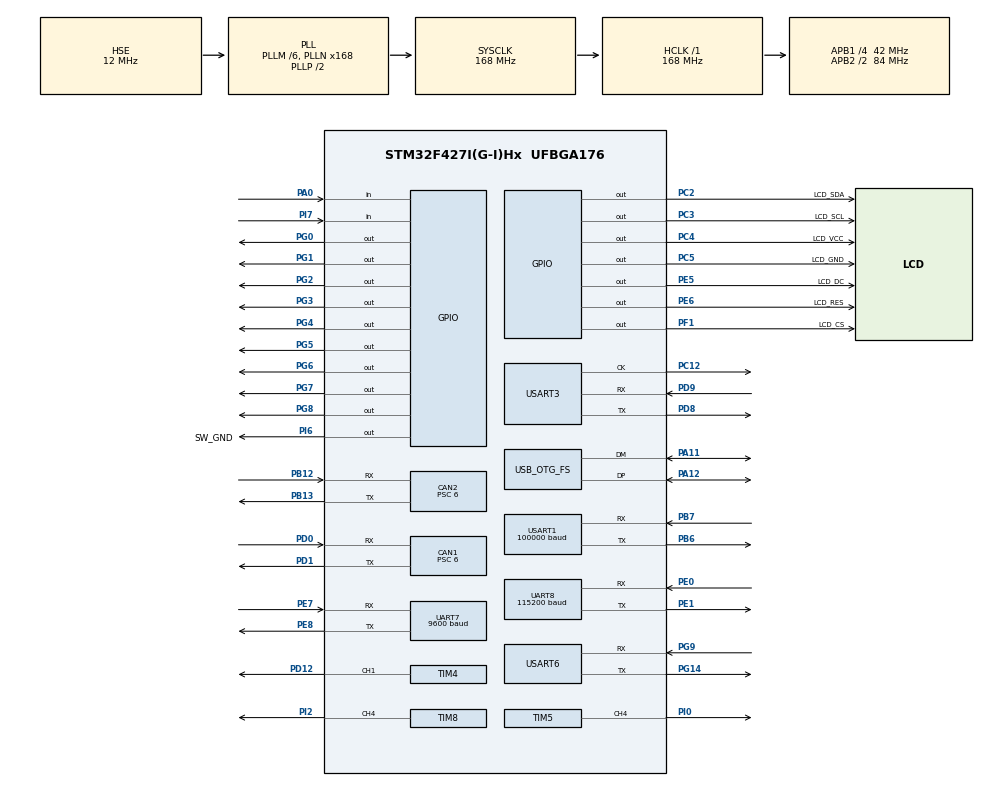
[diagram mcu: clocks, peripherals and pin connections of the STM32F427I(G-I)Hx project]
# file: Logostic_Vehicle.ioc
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CAN1.ABOM=ENABLE
CAN1.BS1=CAN_BS1_3TQ
CAN1.BS2=CAN_BS2_3TQ
CAN1.CalculateBaudRate=1000000
CAN1.CalculateTimeBit=1000
CAN1.CalculateTimeQuantum=142.85714285714286
CAN1.NART=ENABLE
CAN1.Prescaler=6
CAN1.SJW=CAN_SJW_1TQ
CAN2.ABOM=ENABLE
CAN2.BS1=CAN_BS1_3TQ
CAN2.BS2=CAN_BS2_3TQ
CAN2.CalculateBaudRate=1000000
CAN2.CalculateTimeBit=1000
CAN2.CalculateTimeQuantum=142.85714285714286
CAN2.NART=ENABLE
CAN2.Prescaler=6
Dma.Request0=USART1_RX
Dma.Request1=UART7_RX
Dma.Request2=UART7_TX
Dma.Request3=UART8_RX
Dma.Request4=UART8_TX
Dma.UART7_RX.1.Direction=DMA_PERIPH_TO_MEMORY
Dma.UART7_RX.1.FIFOMode=DMA_FIFOMODE_DISABLE
Dma.UART7_RX.1.Instance=DMA1_Stream3
Dma.UART7_RX.1.MemDataAlignment=DMA_MDATAALIGN_BYTE
Dma.UART7_RX.1.MemInc=DMA_MINC_ENABLE
Dma.UART7_RX.1.Mode=DMA_NORMAL
Dma.UART7_RX.1.PeriphDataAlignment=DMA_PDATAALIGN_BYTE
Dma.UART7_RX.1.PeriphInc=DMA_PINC_DISABLE
Dma.UART7_RX.1.Priority=DMA_PRIORITY_LOW
Dma.UART7_TX.2.Direction=DMA_MEMORY_TO_PERIPH
Dma.UART7_TX.2.FIFOMode=DMA_FIFOMODE_DISABLE
Dma.UART7_TX.2.Instance=DMA1_Stream1
Dma.UART7_TX.2.MemDataAlignment=DMA_MDATAALIGN_BYTE
Dma.UART7_TX.2.MemInc=DMA_MINC_ENABLE
Dma.UART7_TX.2.Mode=DMA_NORMAL
Dma.UART7_TX.2.PeriphDataAlignment=DMA_PDATAALIGN_BYTE
Dma.UART7_TX.2.PeriphInc=DMA_PINC_DISABLE
Dma.UART7_TX.2.Priority=DMA_PRIORITY_LOW
Dma.UART8_RX.3.Direction=DMA_PERIPH_TO_MEMORY
Dma.UART8_RX.3.FIFOMode=DMA_FIFOMODE_DISABLE
Dma.UART8_RX.3.Instance=DMA1_Stream6
Dma.UART8_RX.3.MemDataAlignment=DMA_MDATAALIGN_BYTE
Dma.UART8_RX.3.MemInc=DMA_MINC_ENABLE
Dma.UART8_RX.3.Mode=DMA_NORMAL
Dma.UART8_RX.3.PeriphDataAlignment=DMA_PDATAALIGN_BYTE
Dma.UART8_RX.3.PeriphInc=DMA_PINC_DISABLE
Dma.UART8_RX.3.Priority=DMA_PRIORITY_LOW
Dma.UART8_TX.4.Direction=DMA_MEMORY_TO_PERIPH
Dma.UART8_TX.4.FIFOMode=DMA_FIFOMODE_DISABLE
Dma.UART8_TX.4.Instance=DMA1_Stream0
Dma.UART8_TX.4.MemDataAlignment=DMA_MDATAALIGN_BYTE
Dma.UART8_TX.4.MemInc=DMA_MINC_ENABLE
Dma.UART8_TX.4.Mode=DMA_NORMAL
Dma.UART8_TX.4.PeriphDataAlignment=DMA_PDATAALIGN_BYTE
Dma.UART8_TX.4.PeriphInc=DMA_PINC_DISABLE
Dma.UART8_TX.4.Priority=DMA_PRIORITY_LOW
Dma.USART1_RX.0.Direction=DMA_PERIPH_TO_MEMORY
Dma.USART1_RX.0.FIFOMode=DMA_FIFOMODE_DISABLE
Dma.USART1_RX.0.Instance=DMA2_Stream2
Dma.USART1_RX.0.MemDataAlignment=DMA_MDATAALIGN_BYTE
Dma.USART1_RX.0.MemInc=DMA_MINC_ENABLE
Dma.USART1_RX.0.Mode=DMA_NORMAL
Dma.USART1_RX.0.PeriphDataAlignment=DMA_PDATAALIGN_BYTE
Dma.USART1_RX.0.PeriphInc=DMA_PINC_DISABLE
Dma.USART1_RX.0.Priority=DMA_PRIORITY_VERY_HIGH
FREERTOS.Tasks01=defaultTask,9,128,StartDefaultTask,Default,NULL,Dynamic,NULL,NULL;ControlTask,40,128,App_ControlTask,As weak,NULL,Dynamic,NULL,NULL;ChassisTask,24,512,App_ChassisTask,As weak,NULL,Dynamic,NULL,NULL;GimbalTask,24,256,App_GimbalTask,As weak,NULL,Dynamic,NULL,NULL;DebugTask,16,128,App_DebugTask,As weak,NULL,Dynamic,NULL,NULL;LiftTask,24,128,App_LiftTask,As weak,NULL,Dynamic,NULL,NULL;TrayTask,24,128,AppTrayTask,As weak,NULL,Dynamic,NULL,NULL;CaptureTask,24,128,App_CaptureTask,As weak,NULL,Dynamic,NULL,NULL;VIewTask,24,128,App_VIewTask,As weak,NULL,Dynamic,NULL,NULL
FREERTOS.configENABLE_FPU=1
Mcu.Family=STM32F4
Mcu.Name=STM32F427I(G-I)Hx
Mcu.Package=UFBGA176
NVIC.CAN1_RX0_IRQn=true\:5\:0\:false\:false\:true\:true\:true\:true\:true
NVIC.CAN1_RX1_IRQn=true\:5\:0\:false\:false\:true\:true\:true\:true\:true
NVIC.CAN2_RX0_IRQn=true\:5\:0\:false\:false\:true\:true\:true\:true\:true
NVIC.CAN2_RX1_IRQn=true\:5\:0\:false\:false\:true\:true\:true\:true\:true
NVIC.DMA1_Stream0_IRQn=true\:5\:0\:false\:false\:true\:true\:false\:true\:true
NVIC.DMA1_Stream1_IRQn=true\:5\:0\:false\:false\:true\:true\:false\:true\:true
NVIC.DMA1_Stream3_IRQn=true\:5\:0\:false\:false\:true\:true\:false\:true\:true
NVIC.DMA1_Stream6_IRQn=true\:5\:0\:false\:false\:true\:true\:false\:true\:true
NVIC.DMA2_Stream2_IRQn=true\:5\:0\:false\:false\:true\:true\:false\:true\:true
NVIC.OTG_FS_IRQn=true\:5\:0\:false\:false\:true\:true\:false\:true\:true
NVIC.PriorityGroup=NVIC_PRIORITYGROUP_4
NVIC.TIM7_IRQn=true\:15\:0\:false\:false\:true\:false\:false\:true\:true
NVIC.TimeBase=TIM7_IRQn
NVIC.TimeBaseIP=TIM7
NVIC.UART7_IRQn=true\:5\:0\:false\:false\:true\:true\:true\:true\:true
NVIC.UART8_IRQn=true\:5\:0\:true\:false\:true\:true\:true\:true\:true
NVIC.USART1_IRQn=true\:5\:0\:false\:false\:true\:true\:true\:true\:true
NVIC.USART6_IRQn=true\:5\:0\:false\:false\:true\:true\:true\:true\:true
PA0/WKUP.GPIO_PuPd=GPIO_PULLDOWN
PA0/WKUP.Signal=GPIO_Input
PA11.Mode=Device_Only
PA11.Signal=USB_OTG_FS_DM
PA12.GPIO_PuPd=GPIO_PULLUP
PA12.Mode=Device_Only
PA12.Signal=USB_OTG_FS_DP
PA13.Mode=Serial_Wire
PA13.Signal=SYS_JTMS-SWDIO
PA14.Mode=Serial_Wire
PA14.Signal=SYS_JTCK-SWCLK
PB12.Mode=CAN_Activate
PB12.Signal=CAN2_RX
PB13.Mode=CAN_Activate
PB13.Signal=CAN2_TX
PB6.Mode=Asynchronous
PB6.Signal=USART1_TX
PB7.Mode=Asynchronous
PB7.Signal=USART1_RX
PC12.Mode=Synchronous
PC12.Signal=USART3_CK
PC2.GPIO_Label=LCD_SDA
PC2.GPIO_Speed=GPIO_SPEED_FREQ_VERY_HIGH
PC2.Signal=GPIO_Output
PC3.GPIO_Label=LCD_SCL
PC3.GPIO_Speed=GPIO_SPEED_FREQ_VERY_HIGH
PC3.Signal=GPIO_Output
PC4.GPIO_Label=LCD_VCC
PC4.GPIO_PuPd=GPIO_PULLUP
PC4.GPIO_Speed=GPIO_SPEED_FREQ_HIGH
PC4.PinState=GPIO_PIN_SET
PC4.Signal=GPIO_Output
PC5.GPIO_Label=LCD_GND
PC5.GPIO_ModeDefaultOutputPP=GPIO_MODE_OUTPUT_OD
PC5.GPIO_PuPd=GPIO_NOPULL
PC5.GPIO_Speed=GPIO_SPEED_FREQ_HIGH
PC5.Signal=GPIO_Output
PD0.Mode=CAN_Activate
PD0.Signal=CAN1_RX
PD1.Mode=CAN_Activate
PD1.Signal=CAN1_TX
PD12.Signal=S_TIM4_CH1
PD8.Mode=Synchronous
PD8.Signal=USART3_TX
PD9.Mode=Synchronous
PD9.Signal=USART3_RX
PE0.Mode=Asynchronous
PE0.Signal=UART8_RX
PE1.Mode=Asynchronous
PE1.Signal=UART8_TX
PE5.GPIO_Label=LCD_DC
PE5.GPIO_Speed=GPIO_SPEED_FREQ_VERY_HIGH
PE5.Signal=GPIO_Output
PE6.GPIO_Label=LCD_RES
PE6.GPIO_Speed=GPIO_SPEED_FREQ_VERY_HIGH
PE6.Signal=GPIO_Output
PE7.Mode=Asynchronous
PE7.Signal=UART7_RX
PE8.Mode=Asynchronous
PE8.Signal=UART7_TX
PF1.GPIO_Label=LCD_CS
PF1.GPIO_Speed=GPIO_SPEED_FREQ_VERY_HIGH
PF1.Signal=GPIO_Output
PG0.Signal=GPIO_Output
PG1.Signal=GPIO_Output
PG14.Mode=Asynchronous
PG14.Signal=USART6_TX
PG2.Signal=GPIO_Output
PG3.Signal=GPIO_Output
PG4.Signal=GPIO_Output
PG5.Signal=GPIO_Output
PG6.Signal=GPIO_Output
PG7.Signal=GPIO_Output
PG8.Signal=GPIO_Output
PG9.Mode=Asynchronous
PG9.Signal=USART6_RX
PH0/OSC_IN.Mode=HSE-External-Oscillator
PH0/OSC_IN.Signal=RCC_OSC_IN
PH1/OSC_OUT.Mode=HSE-External-Oscillator
PH1/OSC_OUT.Signal=RCC_OSC_OUT
PI0.Signal=S_TIM5_CH4
PI2.Signal=S_TIM8_CH4
PI6.GPIO_Label=SW_GND
PI6.GPIO_PuPd=GPIO_PULLUP
PI6.PinState=GPIO_PIN_SET
PI6.Signal=GPIO_Output
PI7.Signal=GPIO_Input
ProjectManager.HeapSize=0x200
ProjectManager.StackSize=0x400
ProjectManager.TargetToolchain=MDK-ARM V5.32
RCC.48MHZClocksFreq_Value=48000000
RCC.AHBFreq_Value=168000000
RCC.APB1CLKDivider=RCC_HCLK_DIV4
RCC.APB1Freq_Value=42000000
RCC.APB1TimFreq_Value=84000000
RCC.APB2CLKDivider=RCC_HCLK_DIV2
RCC.APB2Freq_Value=84000000
RCC.APB2TimFreq_Value=168000000
RCC.CortexFreq_Value=168000000
RCC.HCLKFreq_Value=168000000
RCC.HSE_VALUE=12000000
RCC.HSI_VALUE=16000000
RCC.LSE_VALUE=32768
RCC.PLLM=6
RCC.PLLN=168
RCC.PLLQ=7
RCC.SYSCLKFreq_VALUE=168000000
RCC.SYSCLKSource=RCC_SYSCLKSOURCE_PLLCLK
RCC.VCOOutputFreq_Value=336000000
SH.S_TIM4_CH1.0=TIM4_CH1,PWM Generation1 CH1
SH.S_TIM5_CH4.0=TIM5_CH4,PWM Generation4 CH4
SH.S_TIM8_CH4.0=TIM8_CH4,PWM Generation4 CH4
TIM4.Channel-PWM\ Generation1\ CH1=TIM_CHANNEL_1
TIM4.Prescaler=83
TIM5.Channel-PWM\ Generation4\ CH4=TIM_CHANNEL_4
TIM5.Period=19999
TIM5.Prescaler=89
TIM8.Channel-PWM\ Generation4\ CH4=TIM_CHANNEL_4
TIM8.Period=19999
TIM8.Prescaler=167
UART7.BaudRate=9600
UART7.VirtualMode=Asynchronous
UART8.BaudRate=115200
UART8.VirtualMode=Asynchronous
USART1.BaudRate=100000
USART1.Mode=MODE_RX
USART1.Parity=PARITY_EVEN
USART1.VirtualMode=VM_ASYNC
USART1.WordLength=WORDLENGTH_8B
USART3.VirtualMode=VM_SYNC
USART6.VirtualMode=VM_ASYNC
USB_DEVICE.CLASS_NAME_FS=CDC
USB_DEVICE.MANUFACTURER_STRING-CDC_FS=QAQ_VirtualUSB
USB_DEVICE.PID_CDC_FS=0x5250
USB_DEVICE.PRODUCT_STRING_CDC_FS=QAQ_Virtual ComPort
USB_DEVICE.VID-CDC_FS=0x727
USB_DEVICE.VirtualMode-CDC_FS=Cdc
USB_DEVICE.VirtualModeFS=Cdc_FS
USB_OTG_FS.VirtualMode=Device_Only
VP_FREERTOS_VS_CMSIS_V2.Mode=CMSIS_V2
VP_SYS_VS_tim7.Mode=TIM7
VP_TIM4_VS_ClockSourceINT.Mode=Internal
VP_TIM5_VS_ClockSourceINT.Mode=Internal
VP_TIM8_VS_ClockSourceINT.Mode=Internal
VP_USB_DEVICE_VS_USB_DEVICE_CDC_FS.Mode=CDC_FS
board=custom

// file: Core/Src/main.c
/* USER CODE BEGIN Header */
/**
  ******************************************************************************
  * @file           : main.c
  * @brief          : Main program body
  ******************************************************************************
  * @attention
  *
  * Copyright (c) 2025 STMicroelectronics.
  * All rights reserved.
  *
  * This software is licensed under terms that can be found in the LICENSE file
  * in the root directory of this software component.
  * If no LICENSE file comes with this software, it is provided AS-IS.
  *
  ******************************************************************************
  */
/* USER CODE END Header */
#include "main.h"
#include "cmsis_os.h"
#include "can.h"
#include "dma.h"
#include "tim.h"
#include "usart.h"
#include "usb_device.h"
#include "gpio.h"

/* USER CODE BEGIN Includes */

#include "qaq_uart.h"
#include "qaq_can.h"

#include "lcd.h"
#include "spi.h"

#include "MarkBase42C.h"
#include "WitIMU.h"

/* USER CODE END Includes */

void SystemClock_Config(void);
void MX_FREERTOS_Init(void);

/* USER CODE BEGIN 0 */

#include "usbd_cdc_if.h"
uint32_t CDC_Recv_dlen = 0;
extern uint8_t UserRxBufferFS[APP_RX_DATA_SIZE];
// CDC_Transmit_FS(buff,sizeof(buff));

float angle = 0;

/* USER CODE END 0 */

int main(void)
{

  /* MCU Configuration--------------------------------------------------------*/

  /* Reset of all peripherals, Initializes the Flash interface and the Systick. */
  HAL_Init();

  /* Configure the system clock */
  SystemClock_Config();

  /* Initialize all configured peripherals */
  MX_GPIO_Init();
  MX_DMA_Init();
  MX_USART6_UART_Init();
  MX_UART8_Init();
  MX_UART7_Init();
  MX_USART3_Init();
  MX_TIM5_Init();
  MX_CAN1_Init();
  MX_CAN2_Init();
  MX_USART1_UART_Init();
  MX_TIM4_Init();
  MX_TIM8_Init();
  /* USER CODE BEGIN 2 */

	//IMU初始化
	qaq_IMU_Init();

	//舵机初始化
	HAL_TIM_PWM_Start(&htim4, TIM_CHANNEL_1); //托盘
	HAL_TIM_PWM_Start(&htim8, TIM_CHANNEL_4); //夹爪

	//LCD 初始化
  	LCD_Init();
	LCD_Fill(0,0,160,128,BLACK); //LCD_ShowString(120,100,"A",GREEN,BLACK,16,0);

	//CAN初始化
	CAN_FilterAndInteruptInit();

 ///////////////////////////////////////////////////////////////////////////////////
 /*********************************************************************************/
 ///////////////////////////////////////////////////////////////////////////////////

	//串口测试
	printf("qaq\r\n");

//  //舵机测试
//  __HAL_TIM_SetCompare(&htim4, TIM_CHANNEL_1, 500); //托盘
//  __HAL_TIM_SetCompare(&htim8, TIM_CHANNEL_4, 1500); //夹爪

	//LCD测试
	LCD_ShowString(5,5,"123",GREEN,BLACK,64,0);	//LCD测试

	//一键启动
	while(HAL_GPIO_ReadPin(GPIOA, GPIO_PIN_0) == GPIO_PIN_RESET) {

	}
	HAL_Delay(100);

	//  43 11829.611    63 11513

	//步进测试
//	HAL_Delay(2000);
//	StMoRunTarPos(M0, 40, 2000);  //正数为向下
//	HAL_Delay(2000);
//	StMoRunTarPos(0XE0, -40, 2000);
//	HAL_Delay(2000);
//	StMoRunTarPos(0XE0, 40, 2000);
//	HAL_Delay(2000);
//	StMoRunTarPos(0XE0, -40, 2000);

  /* USER CODE END 2 */

  /* Init scheduler */
  osKernelInitialize();

  /* Call init function for freertos objects (in cmsis_os2.c) */
  MX_FREERTOS_Init();

  /* Start scheduler */
  osKernelStart();

  /* We should never get here as control is now taken by the scheduler */

  /* Infinite loop */
  /* USER CODE BEGIN WHILE */
  while (1)
  {

	//IMU测试
	angle = WitIMU_GetDate(qaq_Yaw);
	  HAL_Delay(1);

    /* USER CODE END WHILE */

  }
}

void SystemClock_Config(void)
{
  RCC_OscInitTypeDef RCC_OscInitStruct = {0};
  RCC_ClkInitTypeDef RCC_ClkInitStruct = {0};

  /** Configure the main internal regulator output voltage
  */
  __HAL_RCC_PWR_CLK_ENABLE();
  __HAL_PWR_VOLTAGESCALING_CONFIG(PWR_REGULATOR_VOLTAGE_SCALE1);

  /** Initializes the RCC Oscillators according to the specified parameters
  * in the RCC_OscInitTypeDef structure.
  */
  RCC_OscInitStruct.OscillatorType = RCC_OSCILLATORTYPE_HSE;
  RCC_OscInitStruct.HSEState = RCC_HSE_ON;
  RCC_OscInitStruct.PLL.PLLState = RCC_PLL_ON;
  RCC_OscInitStruct.PLL.PLLSource = RCC_PLLSOURCE_HSE;
  RCC_OscInitStruct.PLL.PLLM = 6;
  RCC_OscInitStruct.PLL.PLLN = 168;
  RCC_OscInitStruct.PLL.PLLP = RCC_PLLP_DIV2;
  RCC_OscInitStruct.PLL.PLLQ = 7;
  if (HAL_RCC_OscConfig(&RCC_OscInitStruct) != HAL_OK)
  {
    Error_Handler();
  }

  /** Initializes the CPU, AHB and APB buses clocks
  */
  RCC_ClkInitStruct.ClockType = RCC_CLOCKTYPE_HCLK|RCC_CLOCKTYPE_SYSCLK
                              |RCC_CLOCKTYPE_PCLK1|RCC_CLOCKTYPE_PCLK2;
  RCC_ClkInitStruct.SYSCLKSource = RCC_SYSCLKSOURCE_PLLCLK;
  RCC_ClkInitStruct.AHBCLKDivider = RCC_SYSCLK_DIV1;
  RCC_ClkInitStruct.APB1CLKDivider = RCC_HCLK_DIV4;
  RCC_ClkInitStruct.APB2CLKDivider = RCC_HCLK_DIV2;

  if (HAL_RCC_ClockConfig(&RCC_ClkInitStruct, FLASH_LATENCY_5) != HAL_OK)
  {
    Error_Handler();
  }
}

void HAL_TIM_PeriodElapsedCallback(TIM_HandleTypeDef *htim)
{
  if (htim->Instance == TIM7)
  {
    HAL_IncTick();
  }
}

void Error_Handler(void)
{
  __disable_irq();
  while (1)
  {
  }
}

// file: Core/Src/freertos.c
/* USER CODE BEGIN Header */
/**
  ******************************************************************************
  * File Name          : freertos.c
  * Description        : Code for freertos applications
  ******************************************************************************
  * @attention
  *
  * Copyright (c) 2025 STMicroelectronics.
  * All rights reserved.
  *
  * This software is licensed under terms that can be found in the LICENSE file
  * in the root directory of this software component.
  * If no LICENSE file comes with this software, it is provided AS-IS.
  *
  ******************************************************************************
  */
/* USER CODE END Header */

#include "FreeRTOS.h"
#include "task.h"
#include "main.h"
#include "cmsis_os.h"

/* USER CODE BEGIN Includes */

#include "semphr.h"
/* USER CODE END Includes */

/* Definitions for defaultTask */
osThreadId_t defaultTaskHandle;
const osThreadAttr_t defaultTask_attributes = {
  .name = "defaultTask",
  .stack_size = 128 * 4,
  .priority = (osPriority_t) osPriorityLow1,
};
/* Definitions for ControlTask */
osThreadId_t ControlTaskHandle;
const osThreadAttr_t ControlTask_attributes = {
  .name = "ControlTask",
  .stack_size = 128 * 4,
  .priority = (osPriority_t) osPriorityHigh,
};
/* Definitions for ChassisTask */
osThreadId_t ChassisTaskHandle;
const osThreadAttr_t ChassisTask_attributes = {
  .name = "ChassisTask",
  .stack_size = 512 * 4,
  .priority = (osPriority_t) osPriorityNormal,
};
/* Definitions for GimbalTask */
osThreadId_t GimbalTaskHandle;
const osThreadAttr_t GimbalTask_attributes = {
  .name = "GimbalTask",
  .stack_size = 256 * 4,
  .priority = (osPriority_t) osPriorityNormal,
};
/* Definitions for DebugTask */
osThreadId_t DebugTaskHandle;
const osThreadAttr_t DebugTask_attributes = {
  .name = "DebugTask",
  .stack_size = 128 * 4,
  .priority = (osPriority_t) osPriorityBelowNormal,
};
/* Definitions for LiftTask */
osThreadId_t LiftTaskHandle;
const osThreadAttr_t LiftTask_attributes = {
  .name = "LiftTask",
  .stack_size = 128 * 4,
  .priority = (osPriority_t) osPriorityNormal,
};
/* Definitions for TrayTask */
osThreadId_t TrayTaskHandle;
const osThreadAttr_t TrayTask_attributes = {
  .name = "TrayTask",
  .stack_size = 128 * 4,
  .priority = (osPriority_t) osPriorityNormal,
};
/* Definitions for CaptureTask */
osThreadId_t CaptureTaskHandle;
const osThreadAttr_t CaptureTask_attributes = {
  .name = "CaptureTask",
  .stack_size = 128 * 4,
  .priority = (osPriority_t) osPriorityNormal,
};
/* Definitions for VIewTask */
osThreadId_t VIewTaskHandle;
const osThreadAttr_t VIewTask_attributes = {
  .name = "VIewTask",
  .stack_size = 128 * 4,
  .priority = (osPriority_t) osPriorityNormal,
};

void StartDefaultTask(void *argument);
void App_ControlTask(void *argument);
void App_ChassisTask(void *argument);
void App_GimbalTask(void *argument);
void App_DebugTask(void *argument);
void App_LiftTask(void *argument);
void AppTrayTask(void *argument);
void App_CaptureTask(void *argument);
void App_VIewTask(void *argument);

extern void MX_USB_DEVICE_Init(void);
void MX_FREERTOS_Init(void); /* (MISRA C 2004 rule 8.1) */

void MX_FREERTOS_Init(void) {

  /* Create the thread(s) */
  /* creation of defaultTask */
  defaultTaskHandle = osThreadNew(StartDefaultTask, NULL, &defaultTask_attributes);

  /* creation of ControlTask */
  ControlTaskHandle = osThreadNew(App_ControlTask, NULL, &ControlTask_attributes);

  /* creation of ChassisTask */
  ChassisTaskHandle = osThreadNew(App_ChassisTask, NULL, &ChassisTask_attributes);

  /* creation of GimbalTask */
  GimbalTaskHandle = osThreadNew(App_GimbalTask, NULL, &GimbalTask_attributes);

  /* creation of DebugTask */
  DebugTaskHandle = osThreadNew(App_DebugTask, NULL, &DebugTask_attributes);

  /* creation of LiftTask */
  LiftTaskHandle = osThreadNew(App_LiftTask, NULL, &LiftTask_attributes);

  /* creation of TrayTask */
  TrayTaskHandle = osThreadNew(AppTrayTask, NULL, &TrayTask_attributes);

  /* creation of CaptureTask */
  CaptureTaskHandle = osThreadNew(App_CaptureTask, NULL, &CaptureTask_attributes);

  /* creation of VIewTask */
  VIewTaskHandle = osThreadNew(App_VIewTask, NULL, &VIewTask_attributes);

}

void StartDefaultTask(void *argument)
{
  /* init code for USB_DEVICE */
  MX_USB_DEVICE_Init();
  /* USER CODE BEGIN StartDefaultTask */
  /* Infinite loop */
  for(;;)
  {

//	  xSemaphoreTake();  portMAX_DELAY

//	  vTaskSuspend();
//	  vTaskResume();

	 uint32_t QAQticks = 88;
	  	HAL_GPIO_TogglePin(GPIOG,GPIO_PIN_0);
		osDelay(QAQticks);
		HAL_GPIO_TogglePin(GPIOG,GPIO_PIN_1);
		osDelay(QAQticks);
		HAL_GPIO_TogglePin(GPIOG,GPIO_PIN_2);
		osDelay(QAQticks);
		HAL_GPIO_TogglePin(GPIOG,GPIO_PIN_3);
		osDelay(QAQticks);
		HAL_GPIO_TogglePin(GPIOG,GPIO_PIN_4);
		osDelay(QAQticks);
		HAL_GPIO_TogglePin(GPIOG,GPIO_PIN_5);
		osDelay(QAQticks);
		HAL_GPIO_TogglePin(GPIOG,GPIO_PIN_6);
		osDelay(QAQticks);
		HAL_GPIO_TogglePin(GPIOG,GPIO_PIN_7);
		osDelay(QAQticks);
		HAL_GPIO_TogglePin(GPIOG,GPIO_PIN_8);
		osDelay(QAQticks);
  }
  /* USER CODE END StartDefaultTask */
}

__weak void App_ControlTask(void *argument)
{
  for(;;)
  {
    osDelay(1);
  }
}

__weak void App_ChassisTask(void *argument)
{
  for(;;)
  {
    osDelay(1);
  }
}

__weak void App_GimbalTask(void *argument)
{
  for(;;)
  {
    osDelay(1);
  }
}

__weak void App_DebugTask(void *argument)
{
  for(;;)
  {
    osDelay(1);
  }
}

__weak void App_LiftTask(void *argument)
{
  for(;;)
  {
    osDelay(1);
  }
}

__weak void AppTrayTask(void *argument)
{
  for(;;)
  {
    osDelay(1);
  }
}

__weak void App_CaptureTask(void *argument)
{
  for(;;)
  {
    osDelay(1);
  }
}

__weak void App_VIewTask(void *argument)
{
  for(;;)
  {
    osDelay(1);
  }
}
